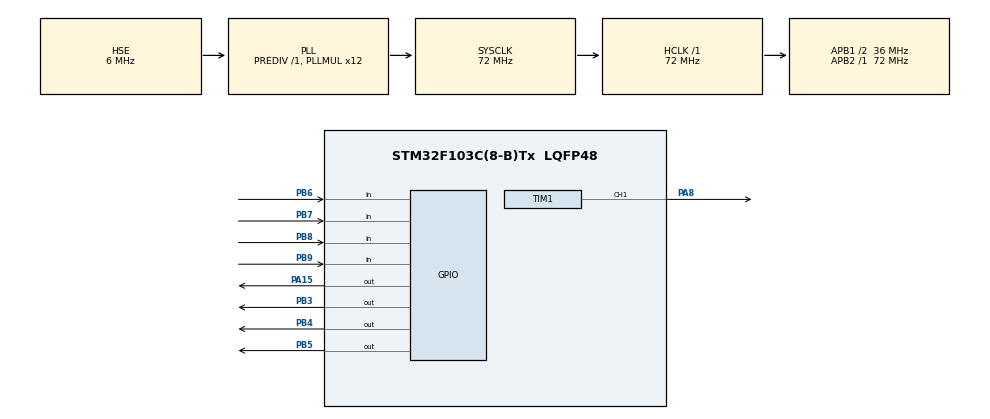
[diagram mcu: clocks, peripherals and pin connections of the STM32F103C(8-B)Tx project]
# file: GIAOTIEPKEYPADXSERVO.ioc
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Mcu.Family=STM32F1
Mcu.Name=STM32F103C(8-B)Tx
Mcu.Package=LQFP48
NVIC.PriorityGroup=NVIC_PRIORITYGROUP_4
PA13.Mode=Serial_Wire
PA13.Signal=SYS_JTMS-SWDIO
PA14.Mode=Serial_Wire
PA14.Signal=SYS_JTCK-SWCLK
PA15.Signal=GPIO_Output
PA8.Signal=S_TIM1_CH1
PB3.Signal=GPIO_Output
PB4.Signal=GPIO_Output
PB5.Signal=GPIO_Output
PB6.GPIO_PuPd=GPIO_PULLUP
PB6.Signal=GPIO_Input
PB7.GPIO_PuPd=GPIO_PULLUP
PB7.Signal=GPIO_Input
PB8.GPIO_PuPd=GPIO_PULLUP
PB8.Signal=GPIO_Input
PB9.GPIO_PuPd=GPIO_PULLUP
PB9.Signal=GPIO_Input
PD0-OSC_IN.Mode=HSE-External-Oscillator
PD0-OSC_IN.Signal=RCC_OSC_IN
PD1-OSC_OUT.Mode=HSE-External-Oscillator
PD1-OSC_OUT.Signal=RCC_OSC_OUT
ProjectManager.HeapSize=0x200
ProjectManager.StackSize=0x400
ProjectManager.TargetToolchain=MDK-ARM V5.32
RCC.AHBFreq_Value=72000000
RCC.APB1CLKDivider=RCC_HCLK_DIV2
RCC.APB1Freq_Value=36000000
RCC.APB1TimFreq_Value=72000000
RCC.APB2Freq_Value=72000000
RCC.APB2TimFreq_Value=72000000
RCC.HCLKFreq_Value=72000000
RCC.HSE_VALUE=6000000
RCC.PLLMUL=RCC_PLL_MUL12
RCC.PLLSourceVirtual=RCC_PLLSOURCE_HSE
RCC.SYSCLKFreq_VALUE=72000000
RCC.SYSCLKSource=RCC_SYSCLKSOURCE_PLLCLK
RCC.USBFreq_Value=72000000
SH.S_TIM1_CH1.0=TIM1_CH1,PWM Generation1 CH1
TIM1.Channel-PWM\ Generation1\ CH1=TIM_CHANNEL_1
TIM1.Period=1599
TIM1.Prescaler=78
VP_TIM1_VS_ClockSourceINT.Mode=Internal
board=custom

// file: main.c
/* USER CODE BEGIN Header */
/**
  ******************************************************************************
  * @file           : main.c
  * @brief          : Main program body
  ******************************************************************************
  * @attention
  *
  * Copyright (c) 2024 STMicroelectronics.
  * All rights reserved.
  *
  * This software is licensed under terms that can be found in the LICENSE file
  * in the root directory of this software component.
  * If no LICENSE file comes with this software, it is provided AS-IS.
  *
  ******************************************************************************
  */
/* USER CODE END Header */
#include "main.h"
#define PASSWORD_LENGTH 4
#define DEBOUNCE_DELAY 200

/* USER CODE BEGIN PD */
TIM_HandleTypeDef htim1;
int password[] = {51,56,57,50};
int password_index = 0;
/* USER CODE END PD */

/* USER CODE BEGIN PM */
void SystemClock_Config(void);
static void MX_GPIO_Init(void);
static void MX_TIM1_Init(void);
void check_keypad_input(int KEY);
/* USER CODE END PM */

TIM_HandleTypeDef htim1;

void SystemClock_Config(void);
static void MX_GPIO_Init(void);
static void MX_TIM1_Init(void);

/* USER CODE BEGIN 0 */
void check_keypad_input(int KEY) {
    static int last_key = -1;
    if (KEY != last_key) { //* kiem tra co giong last key k*//
        last_key = KEY; // neu giong thi cap nhat
        if (KEY == password[password_index]) { // so voi ky tu trong mang
            password_index++;
            if (password_index == PASSWORD_LENGTH) { // kiem tra do dai cua mang
							HAL_TIM_PWM_Start(&htim1,TIM_CHANNEL_1);
                __HAL_TIM_SET_COMPARE(&htim1, TIM_CHANNEL_1, 80);
                HAL_Delay(2000);
                __HAL_TIM_SET_COMPARE(&htim1, TIM_CHANNEL_1, 120);
                HAL_Delay(2000);
                __HAL_TIM_SET_COMPARE(&htim1, TIM_CHANNEL_1, 160);
                HAL_Delay(2000);
							 __HAL_TIM_SET_COMPARE(&htim1, TIM_CHANNEL_1, 80);
                HAL_Delay(2000);
                 HAL_TIM_PWM_Stop(&htim1, TIM_CHANNEL_1); //* tat servo sau khi mo cua
                password_index = 0; // reset sau khi nhap mat khau
            }
        } else { // N?u nh?n sai m?t kh?u
            password_index = 0;
        }
    }
}
/* USER CODE END 0 */

int main(void)
{

  /* MCU Configuration--------------------------------------------------------*/

  /* Reset of all peripherals, Initializes the Flash interface and the Systick. */
  HAL_Init();

  /* Configure the system clock */
  SystemClock_Config();

  /* Initialize all configured peripherals */
  MX_GPIO_Init();
  MX_TIM1_Init();

  /* Infinite loop */
  /* USER CODE BEGIN WHILE */

  while (1){

int KEY=-1;

    /* Quet Row1 */
    GPIOA->BSRR = GPIO_PIN_15;
    GPIOB->BSRR = GPIO_PIN_3 | GPIO_PIN_4 | GPIO_PIN_5;
    GPIOA->BSRR = GPIO_PIN_15 << 16;
    if ((GPIOB->IDR & GPIO_PIN_6) == 0)
      KEY = 49;
    if ((GPIOB->IDR & GPIO_PIN_7) == 0)
      KEY = 50;
    if ((GPIOB->IDR & GPIO_PIN_8) == 0)
			KEY = 51;
    if ((GPIOB->IDR & GPIO_PIN_9) == 0)
      KEY = 65;
    /* Quet row2 */
    GPIOA->BSRR = GPIO_PIN_15;
    GPIOB->BSRR = GPIO_PIN_3 | GPIO_PIN_4 | GPIO_PIN_5;
    GPIOB->BSRR = GPIO_PIN_3 << 16;
    if ((GPIOB->IDR & GPIO_PIN_6) == 0)
      KEY = 52;
    if ((GPIOB->IDR & GPIO_PIN_7) == 0)
      KEY = 53;
    if ((GPIOB->IDR & GPIO_PIN_8) == 0)
      KEY = 54;
    if ((GPIOB->IDR & GPIO_PIN_9) == 0)
      KEY = 66;

    /* Quet row 3 */
    GPIOA->BSRR = GPIO_PIN_15;
    GPIOB->BSRR = GPIO_PIN_3 | GPIO_PIN_4 | GPIO_PIN_5;
   GPIOB->BSRR = GPIO_PIN_4 << 16;
    if ((GPIOB->IDR & GPIO_PIN_6) == 0)
      KEY = 55;
    if ((GPIOB->IDR & GPIO_PIN_7) == 0)
      KEY = 56;
    if ((GPIOB->IDR & GPIO_PIN_8) == 0)
      KEY = 57;
    if ((GPIOB->IDR & GPIO_PIN_9) == 0)
      KEY = 67;

    /* Quet row4 */
    GPIOA->BSRR = GPIO_PIN_15;
    GPIOB->BSRR = GPIO_PIN_3 | GPIO_PIN_4 | GPIO_PIN_5;
    GPIOB->BSRR = GPIO_PIN_5 << 16;
    if ((GPIOB->IDR & GPIO_PIN_6) == 0)
      KEY = 42;
    if ((GPIOB->IDR & GPIO_PIN_7) == 0)
      KEY = 48;
    if ((GPIOB->IDR & GPIO_PIN_8) == 0)
      KEY = 35;
    if ((GPIOB->IDR & GPIO_PIN_9) == 0)
      KEY = 68;
	if (KEY != -1){
					check_keypad_input(KEY);
    /* USER CODE END WHILE */

  }
}}

void SystemClock_Config(void)
{
  RCC_OscInitTypeDef RCC_OscInitStruct = {0};
  RCC_ClkInitTypeDef RCC_ClkInitStruct = {0};

  /** Initializes the RCC Oscillators according to the specified parameters
  * in the RCC_OscInitTypeDef structure.
  */
  RCC_OscInitStruct.OscillatorType = RCC_OSCILLATORTYPE_HSE;
  RCC_OscInitStruct.HSEState = RCC_HSE_ON;
  RCC_OscInitStruct.HSEPredivValue = RCC_HSE_PREDIV_DIV1;
  RCC_OscInitStruct.HSIState = RCC_HSI_ON;
  RCC_OscInitStruct.PLL.PLLState = RCC_PLL_ON;
  RCC_OscInitStruct.PLL.PLLSource = RCC_PLLSOURCE_HSE;
  RCC_OscInitStruct.PLL.PLLMUL = RCC_PLL_MUL12;
  if (HAL_RCC_OscConfig(&RCC_OscInitStruct) != HAL_OK)
  {
    Error_Handler();
  }

  /** Initializes the CPU, AHB and APB buses clocks
  */
  RCC_ClkInitStruct.ClockType = RCC_CLOCKTYPE_HCLK|RCC_CLOCKTYPE_SYSCLK
                              |RCC_CLOCKTYPE_PCLK1|RCC_CLOCKTYPE_PCLK2;
  RCC_ClkInitStruct.SYSCLKSource = RCC_SYSCLKSOURCE_PLLCLK;
  RCC_ClkInitStruct.AHBCLKDivider = RCC_SYSCLK_DIV1;
  RCC_ClkInitStruct.APB1CLKDivider = RCC_HCLK_DIV2;
  RCC_ClkInitStruct.APB2CLKDivider = RCC_HCLK_DIV1;

  if (HAL_RCC_ClockConfig(&RCC_ClkInitStruct, FLASH_LATENCY_2) != HAL_OK)
  {
    Error_Handler();
  }
}

static void MX_TIM1_Init(void)
{

  TIM_ClockConfigTypeDef sClockSourceConfig = {0};
  TIM_MasterConfigTypeDef sMasterConfig = {0};
  TIM_OC_InitTypeDef sConfigOC = {0};
  TIM_BreakDeadTimeConfigTypeDef sBreakDeadTimeConfig = {0};

  htim1.Instance = TIM1;
  htim1.Init.Prescaler = 899;
  htim1.Init.CounterMode = TIM_COUNTERMODE_UP;
  htim1.Init.Period = 1599;
  htim1.Init.ClockDivision = TIM_CLOCKDIVISION_DIV1;
  htim1.Init.RepetitionCounter = 0;
  htim1.Init.AutoReloadPreload = TIM_AUTORELOAD_PRELOAD_DISABLE;
  if (HAL_TIM_Base_Init(&htim1) != HAL_OK)
  {
    Error_Handler();
  }
  sClockSourceConfig.ClockSource = TIM_CLOCKSOURCE_INTERNAL;
  if (HAL_TIM_ConfigClockSource(&htim1, &sClockSourceConfig) != HAL_OK)
  {
    Error_Handler();
  }
  if (HAL_TIM_PWM_Init(&htim1) != HAL_OK)
  {
    Error_Handler();
  }
  sMasterConfig.MasterOutputTrigger = TIM_TRGO_RESET;
  sMasterConfig.MasterSlaveMode = TIM_MASTERSLAVEMODE_DISABLE;
  if (HAL_TIMEx_MasterConfigSynchronization(&htim1, &sMasterConfig) != HAL_OK)
  {
    Error_Handler();
  }
  sConfigOC.OCMode = TIM_OCMODE_PWM1;
  sConfigOC.Pulse = 160;
  sConfigOC.OCPolarity = TIM_OCPOLARITY_HIGH;
  sConfigOC.OCNPolarity = TIM_OCNPOLARITY_HIGH;
  sConfigOC.OCFastMode = TIM_OCFAST_DISABLE;
  sConfigOC.OCIdleState = TIM_OCIDLESTATE_RESET;
  sConfigOC.OCNIdleState = TIM_OCNIDLESTATE_RESET;
  if (HAL_TIM_PWM_ConfigChannel(&htim1, &sConfigOC, TIM_CHANNEL_1) != HAL_OK)
  {
    Error_Handler();
  }
  sBreakDeadTimeConfig.OffStateRunMode = TIM_OSSR_DISABLE;
  sBreakDeadTimeConfig.OffStateIDLEMode = TIM_OSSI_DISABLE;
  sBreakDeadTimeConfig.LockLevel = TIM_LOCKLEVEL_OFF;
  sBreakDeadTimeConfig.DeadTime = 0;
  sBreakDeadTimeConfig.BreakState = TIM_BREAK_DISABLE;
  sBreakDeadTimeConfig.BreakPolarity = TIM_BREAKPOLARITY_HIGH;
  sBreakDeadTimeConfig.AutomaticOutput = TIM_AUTOMATICOUTPUT_DISABLE;
  if (HAL_TIMEx_ConfigBreakDeadTime(&htim1, &sBreakDeadTimeConfig) != HAL_OK)
  {
    Error_Handler();
  }
  HAL_TIM_MspPostInit(&htim1);

}

static void MX_GPIO_Init(void)
{
  GPIO_InitTypeDef GPIO_InitStruct = {0};

  /* GPIO Ports Clock Enable */
  __HAL_RCC_GPIOD_CLK_ENABLE();
  __HAL_RCC_GPIOA_CLK_ENABLE();
  __HAL_RCC_GPIOB_CLK_ENABLE();

  /*Configure GPIO pin Output Level */
  HAL_GPIO_WritePin(GPIOA, GPIO_PIN_15, GPIO_PIN_RESET);

  /*Configure GPIO pin Output Level */
  HAL_GPIO_WritePin(GPIOB, GPIO_PIN_3|GPIO_PIN_4|GPIO_PIN_5, GPIO_PIN_RESET);

  /*Configure GPIO pin : PA15 */
  GPIO_InitStruct.Pin = GPIO_PIN_15;
  GPIO_InitStruct.Mode = GPIO_MODE_OUTPUT_PP;
  GPIO_InitStruct.Pull = GPIO_NOPULL;
  GPIO_InitStruct.Speed = GPIO_SPEED_FREQ_LOW;
  HAL_GPIO_Init(GPIOA, &GPIO_InitStruct);

  /*Configure GPIO pins : PB3 PB4 PB5 */
  GPIO_InitStruct.Pin = GPIO_PIN_3|GPIO_PIN_4|GPIO_PIN_5;
  GPIO_InitStruct.Mode = GPIO_MODE_OUTPUT_PP;
  GPIO_InitStruct.Pull = GPIO_NOPULL;
  GPIO_InitStruct.Speed = GPIO_SPEED_FREQ_LOW;
  HAL_GPIO_Init(GPIOB, &GPIO_InitStruct);

  /*Configure GPIO pins : PB6 PB7 PB8 PB9 */
  GPIO_InitStruct.Pin = GPIO_PIN_6|GPIO_PIN_7|GPIO_PIN_8|GPIO_PIN_9;
  GPIO_InitStruct.Mode = GPIO_MODE_INPUT;
  GPIO_InitStruct.Pull = GPIO_PULLUP;
  HAL_GPIO_Init(GPIOB, &GPIO_InitStruct);

}

void Error_Handler(void)
{
  __disable_irq();
  while (1)
  {
  }
}
